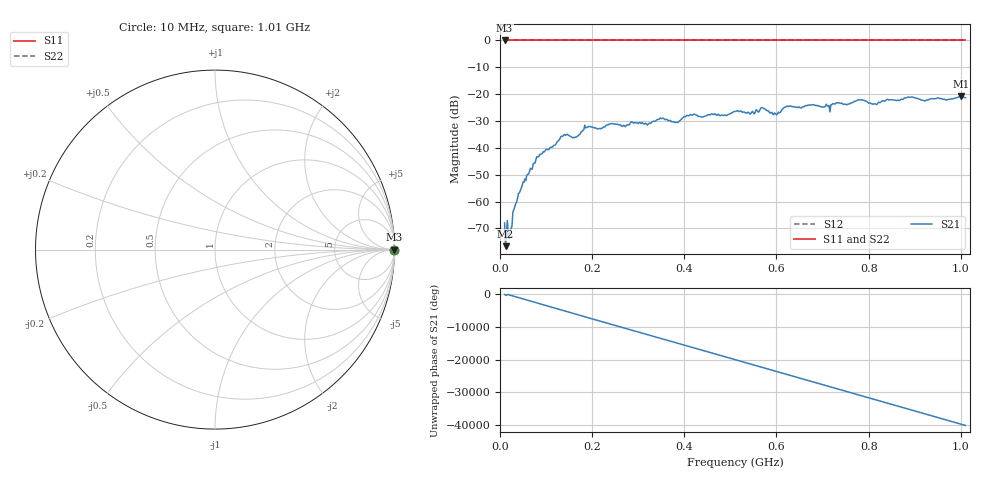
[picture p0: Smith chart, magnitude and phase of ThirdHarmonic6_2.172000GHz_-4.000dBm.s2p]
! 8/17/2025 1:54:43 AM
! C:\ANRITSUVNA\TEMP\TEMP.S2P
! CHANNEL.1
! TR.MEASUREMENT
! RAW.DATA
! RF.CORRECTION.OFF
! AVERAGING.OFF
! IF.BANDWIDTH: 5KHZ
! SWEEPTYPE:  FREQ.SWEEP(Linear)
! Reference Plane Port Info
! PORT:  PORT1  PORT2
! DISTANCE:  0  m  0  m
! TIME:  0  s  0  s
! PHASE.OFFSET:  0  deg.  0  deg.
! LOSS:  0  dB  0  dB
! REF.LOSS:  0  dB  0  dB
! REF.FREQ:  0  Hz  0  Hz
! Power Info
! POWER:  -20  dBm  -20  dBm
! EFF.POWER:  -20  dBm  -20  dBm
! SOURCE.ATTEN:  0  dB  0  dB
! TEST.ATTEN:  0  dB  0  dB
# GHZ S RI R 50.0
! FREQ.GHZ  S11RE  S11IM  S21RE  S21IM  S12RE  S12IM  S22RE  S22IM
!; PortSelection: Port_12
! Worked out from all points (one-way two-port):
!   501 points, 10 MHz to 1.01 GHz, reference 50 ohm
!   highest |S21| = -20.71 dB at 1 GHz (marker M1); lowest = -76.6 dB at 12 MHz (marker M2)
!   lowest |S11| = 0.0 dB at 10 MHz (marker M3)
!   |S11| at or under -10 dB: nowhere
!   |S22| runs from 0.0 to 0.0 dB; largest |S21 - S12| = 1.1
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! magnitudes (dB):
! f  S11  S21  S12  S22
! 10 MHz  0.0  -68.0  0.0  0.0
! 12 MHz  0.0  -76.6  0.0  0.0
! 16 MHz  0.0  -67.1  0.0  0.0
! 22 MHz  0.0  -71.6  0.0  0.0
! 32 MHz  0.0  -62.0  0.0  0.0
! 44 MHz  0.0  -56.0  0.0  0.0
! 82 MHz  0.0  -43.3  0.0  0.0
! 136 MHz  0.0  -35.8  0.0  0.0
! 162 MHz  0.0  -36.2  0.0  0.0
! 178 MHz  0.0  -33.9  0.0  0.0
! 188 MHz  0.0  -32.4  0.0  0.0
! 344 MHz  0.0  -29.5  0.0  0.0
! 384 MHz  0.0  -30.5  0.0  0.0
! 410 MHz  0.0  -28.1  0.0  0.0
! 510 MHz  0.0  -26.4  0.0  0.0
! 570 MHz  0.0  -25.1  0.0  0.0
! 598 MHz  0.0  -27.3  0.0  0.0
! 620 MHz  0.0  -24.8  0.0  0.0
! 678 MHz  0.0  -24.0  0.0  0.0
! 844 MHz  0.0  -22.2  0.0  0.0
! 1 GHz  0.0  -20.7  0.0  0.0
! 1.01 GHz  0.0  -21.3  0.0  0.0
